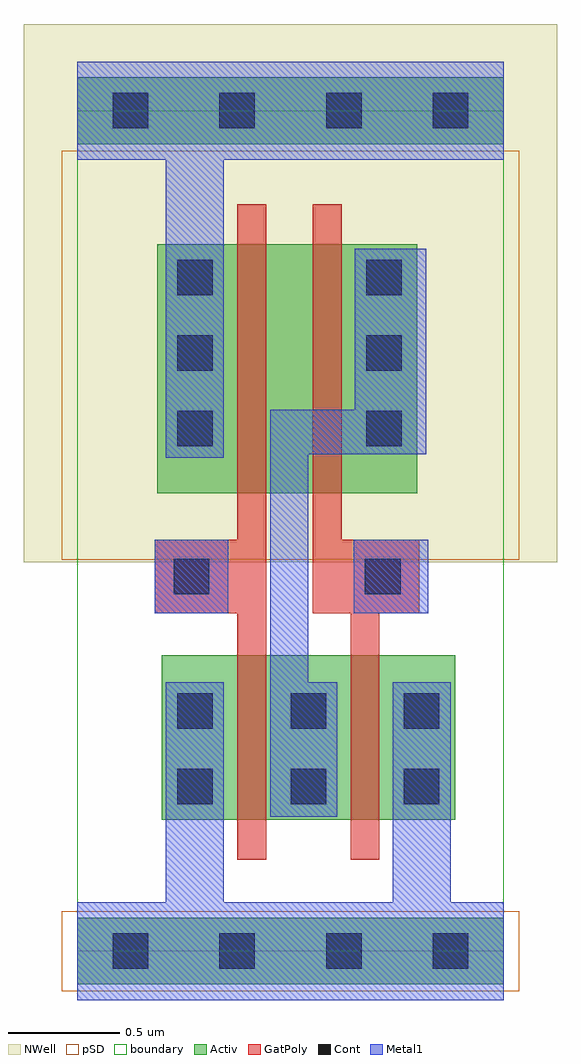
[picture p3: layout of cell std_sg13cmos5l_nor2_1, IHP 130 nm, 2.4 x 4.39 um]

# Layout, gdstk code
import gdstk
lib = gdstk.Library(unit=1e-6, precision=1e-09)
def R(c, l, rs):  # rectangles x0, y0, x1, y1
    for r in rs: c.add(gdstk.rectangle(r[:2], r[2:], *l))
def A(c, l, x, y, w, h, nx, ny, dx, dy):  # array of equal rectangles
    R(c, l, [(x+i*dx, y+j*dy, x+i*dx+w, y+j*dy+h) for i in range(nx) for j in range(ny)])
def P(c, l, *ps):  # polygons
    for p in ps: c.add(gdstk.Polygon(p, *l))
Activ = (1, 0)
GatPoly = (5, 0)
Cont = (6, 0)
Metal1 = (8, 0)
pSD = (14, 0)
NWell = (31, 0)
boundary = (189, 4)

std_sg13cmos5l_nor2_1 = lib.new_cell('std_sg13cmos5l_nor2_1')
R(std_sg13cmos5l_nor2_1, Activ, [(0,-0.15,1.92,0.15), (0.38,0.59,1.7,1.33), (0.36,2.06,1.53,3.18), (0,3.63,1.92,3.93)])
P(std_sg13cmos5l_nor2_1, GatPoly, [(0.72,0.41),(0.72,1.52),(0.35,1.52),(0.35,1.85),(0.72,1.85),(0.72,3.36),(0.85,3.36),(0.85,0.41)],
  [(1.23,0.41),(1.23,1.52),(1.06,1.52),(1.06,3.36),(1.19,3.36),(1.19,1.85),(1.54,1.85),(1.54,1.52),(1.36,1.52),(1.36,0.41)])
A(std_sg13cmos5l_nor2_1, Cont, 0.45, 0.66, 0.16, 0.16, 3, 2, 0.51, 0.34)
A(std_sg13cmos5l_nor2_1, Cont, 0.45, 2.27, 0.16, 0.16, 1, 3, 0, 0.34)
A(std_sg13cmos5l_nor2_1, Cont, 1.3, 2.27, 0.16, 0.16, 1, 3, 0, 0.34)
R(std_sg13cmos5l_nor2_1, Cont, [(0.16,-0.08,0.32,0.08), (0.16,-0.08,0.32,0.08), (0.64,-0.08,0.8,0.08), (0.64,-0.08,0.8,0.08), (1.12,-0.08,1.28,0.08), (1.12,-0.08,1.28,0.08), (1.6,-0.08,1.76,0.08), (1.6,-0.08,1.76,0.08), (0.435,1.605,0.595,1.765), (1.295,1.605,1.455,1.765), (0.16,3.7,0.32,3.86), (0.16,3.7,0.32,3.86), (0.64,3.7,0.8,3.86), (0.64,3.7,0.8,3.86), (1.12,3.7,1.28,3.86), (1.12,3.7,1.28,3.86), (1.6,3.7,1.76,3.86), (1.6,3.7,1.76,3.86)])
R(std_sg13cmos5l_nor2_1, Metal1, [(0.35,1.52,0.68,1.85), (1.245,1.52,1.58,1.85)])
P(std_sg13cmos5l_nor2_1, Metal1, [(0,-0.22),(0,0.22),(0.4,0.22),(0.4,1.21),(0.66,1.21),(0.66,0.22),(1.42,0.22),(1.42,1.21),(1.68,1.21),(1.68,0.22),(1.92,0.22),(1.92,-0.22)],
  [(0.4,2.22),(0.4,3.56),(0,3.56),(0,4),(1.92,4),(1.92,3.56),(0.66,3.56),(0.66,2.22)],
  [(0.87,0.605),(0.87,2.435),(1.25,2.435),(1.25,3.16),(1.57,3.16),(1.57,2.235),(1.04,2.235),(1.04,1.21),(1.17,1.21),(1.17,0.605)])
R(std_sg13cmos5l_nor2_1, pSD, [(-0.07,-0.18,1.99,0.18), (-0.07,1.76,1.99,3.6)])
R(std_sg13cmos5l_nor2_1, NWell, [(-0.24,1.75,2.16,4.17)])
R(std_sg13cmos5l_nor2_1, boundary, [(0,0,1.92,3.78)])

lib.write_gds('std_sg13cmos5l_nor2_1.gds')
